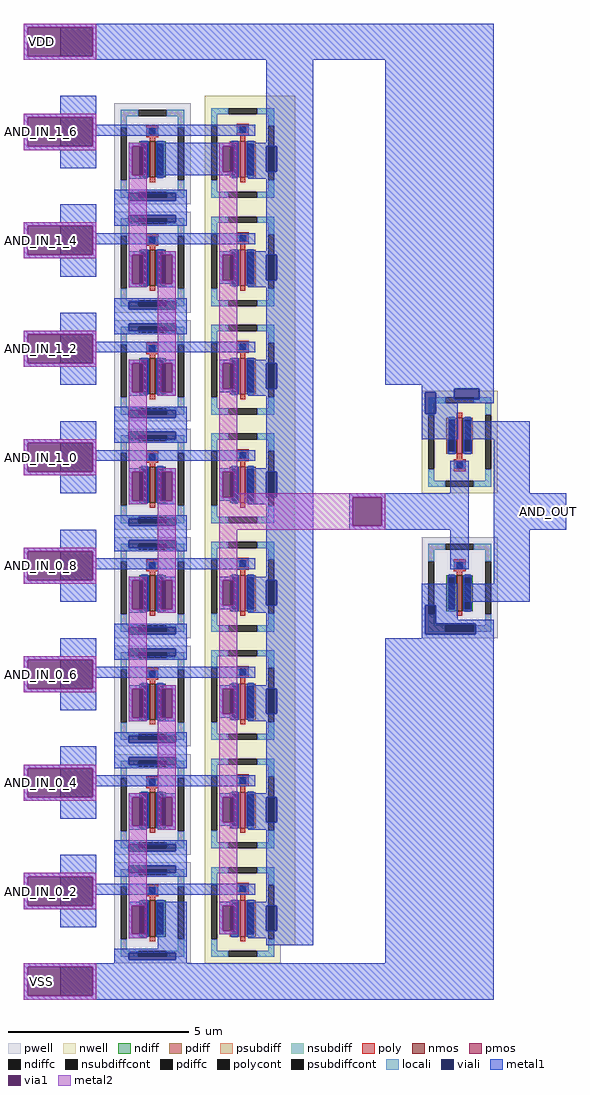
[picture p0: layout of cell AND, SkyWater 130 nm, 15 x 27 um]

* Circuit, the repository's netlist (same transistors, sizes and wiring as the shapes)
** sch_path: /home/ttuser/tt_analog_z2a/xschem/AND.sch
.subckt AND VDD VSS AND_IN_1_6 AND_IN_1_4 AND_IN_1_2 AND_IN_1_0 AND_OUT AND_IN_0_8 AND_IN_0_6 AND_IN_0_4 AND_IN_0_2
*.PININFO VDD:B VSS:B AND_IN_0_2:I AND_OUT:O AND_IN_0_4:I AND_IN_0_6:I AND_IN_0_8:I AND_IN_1_0:I AND_IN_1_2:I AND_IN_1_4:I
*+ AND_IN_1_6:I
x5 NANDOUT AND_IN_1_6 VDD AND_IN_1_4 VSS AND_IN_1_2 AND_IN_1_0 AND_IN_0_8 AND_IN_0_6 AND_IN_0_4 AND_IN_0_2 NAND
x28 VDD VSS AND_OUT NANDOUT inv_x1
.ends

* expanding   symbol:  NAND.sym # of pins=11
** sym_path: /home/ttuser/tt_analog_z2a/xschem/NAND.sym
** sch_path: /home/ttuser/tt_analog_z2a/xschem/NAND.sch
.subckt NAND NAND_OUT NAND_IN_7 VDD NAND_IN_6 VSS NAND_IN_5 NAND_IN_4 NAND_IN_3 NAND_IN_2 NAND_IN_1 NAND_IN_0
*.PININFO NAND_IN_0:I NAND_OUT:O VDD:B VSS:B NAND_IN_1:I NAND_IN_2:I NAND_IN_3:I NAND_IN_4:I NAND_IN_5:I NAND_IN_6:I NAND_IN_7:I
XM15 NAND_OUT NAND_IN_0 VDD VDD sky130_fd_pr__pfet_01v8 L=0.15 W=1 nf=1 m=1
XM0 net1 NAND_IN_0 VSS VSS sky130_fd_pr__nfet_01v8 L=0.15 W=1 nf=1 m=1
XM1 net2 NAND_IN_1 net1 VSS sky130_fd_pr__nfet_01v8 L=0.15 W=1 nf=1 m=1
XM2 net3 NAND_IN_2 net2 VSS sky130_fd_pr__nfet_01v8 L=0.15 W=1 nf=1 m=1
XM3 net4 NAND_IN_3 net3 VSS sky130_fd_pr__nfet_01v8 L=0.15 W=1 nf=1 m=1
XM4 net5 NAND_IN_4 net4 VSS sky130_fd_pr__nfet_01v8 L=0.15 W=1 nf=1 m=1
XM5 net6 NAND_IN_5 net5 VSS sky130_fd_pr__nfet_01v8 L=0.15 W=1 nf=1 m=1
XM6 net7 NAND_IN_6 net6 VSS sky130_fd_pr__nfet_01v8 L=0.15 W=1 nf=1 m=1
XM7 NAND_OUT NAND_IN_7 net7 VSS sky130_fd_pr__nfet_01v8 L=0.15 W=1 nf=1 m=1
XM8 NAND_OUT NAND_IN_1 VDD VDD sky130_fd_pr__pfet_01v8 L=0.15 W=1 nf=1 m=1
XM9 NAND_OUT NAND_IN_2 VDD VDD sky130_fd_pr__pfet_01v8 L=0.15 W=1 nf=1 m=1
XM10 NAND_OUT NAND_IN_3 VDD VDD sky130_fd_pr__pfet_01v8 L=0.15 W=1 nf=1 m=1
XM11 NAND_OUT NAND_IN_4 VDD VDD sky130_fd_pr__pfet_01v8 L=0.15 W=1 nf=1 m=1
XM12 NAND_OUT NAND_IN_5 VDD VDD sky130_fd_pr__pfet_01v8 L=0.15 W=1 nf=1 m=1
XM13 NAND_OUT NAND_IN_6 VDD VDD sky130_fd_pr__pfet_01v8 L=0.15 W=1 nf=1 m=1
XM14 NAND_OUT NAND_IN_7 VDD VDD sky130_fd_pr__pfet_01v8 L=0.15 W=1 nf=1 m=1
.ends


* expanding   symbol:  inv_x1.sym # of pins=4
** sym_path: /home/ttuser/tt_analog_z2a/xschem/inv_x1.sym
** sch_path: /home/ttuser/tt_analog_z2a/xschem/inv_x1.sch
.subckt inv_x1 VDD VSS INV_OUT INV_IN
*.PININFO INV_IN:I INV_OUT:O VDD:B VSS:B
XM3 INV_OUT INV_IN VDD VDD sky130_fd_pr__pfet_01v8 L=0.15 W=1 nf=1 m=1
XM5 INV_OUT INV_IN VSS VSS sky130_fd_pr__nfet_01v8 L=0.15 W=1 nf=1 m=1
.ends

.end

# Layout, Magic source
magic
tech sky130A
<< metal1 >>
rect 50 440 150 450
rect 50 360 60 440
rect 50 350 150 360
rect 700 350 1350 450
rect 50 190 150 200
rect 50 110 60 190
rect 50 100 150 110
rect 50 -110 150 -100
rect 50 -190 60 -110
rect 50 -200 150 -190
rect 50 -410 150 -400
rect 50 -490 60 -410
rect 50 -500 150 -490
rect 1050 -550 1350 350
rect 50 -710 150 -700
rect 50 -790 60 -710
rect 50 -800 150 -790
rect 1450 -950 1550 -850
rect 50 -1010 150 -1000
rect 50 -1090 60 -1010
rect 50 -1100 150 -1090
rect 50 -1310 150 -1300
rect 50 -1390 60 -1310
rect 50 -1400 150 -1390
rect 50 -1610 150 -1600
rect 50 -1690 60 -1610
rect 50 -1700 150 -1690
rect 50 -1910 150 -1900
rect 50 -1990 60 -1910
rect 50 -2000 150 -1990
rect 1050 -2150 1350 -1350
rect 50 -2160 150 -2150
rect 50 -2240 60 -2160
rect 50 -2250 150 -2240
rect 500 -2250 1350 -2150
<< via1 >>
rect 60 360 240 440
rect 60 110 240 190
rect 60 -190 240 -110
rect 60 -490 240 -410
rect 60 -790 240 -710
rect 60 -1090 240 -1010
rect 60 -1390 240 -1310
rect 60 -1690 240 -1610
rect 60 -1990 240 -1910
rect 60 -2240 240 -2160
<< metal2 >>
rect 50 440 250 450
rect 50 360 60 440
rect 240 360 250 440
rect 50 350 250 360
rect 50 190 250 200
rect 50 110 60 190
rect 240 110 250 190
rect 50 100 250 110
rect 50 -110 250 -100
rect 50 -190 60 -110
rect 240 -190 250 -110
rect 50 -200 250 -190
rect 50 -410 250 -400
rect 50 -490 60 -410
rect 240 -490 250 -410
rect 50 -500 250 -490
rect 50 -710 250 -700
rect 50 -790 60 -710
rect 240 -790 250 -710
rect 50 -800 250 -790
rect 50 -1010 250 -1000
rect 50 -1090 60 -1010
rect 240 -1090 250 -1010
rect 50 -1100 250 -1090
rect 50 -1310 250 -1300
rect 50 -1390 60 -1310
rect 240 -1390 250 -1310
rect 50 -1400 250 -1390
rect 50 -1610 250 -1600
rect 50 -1690 60 -1610
rect 240 -1690 250 -1610
rect 50 -1700 250 -1690
rect 50 -1910 250 -1900
rect 50 -1990 60 -1910
rect 240 -1990 250 -1910
rect 50 -2000 250 -1990
rect 50 -2160 250 -2150
rect 50 -2240 60 -2160
rect 240 -2240 250 -2160
rect 50 -2250 250 -2240
use NAND  x5
transform 1 0 150 0 1 50
box 0 -2300 900 400
use inv_x1  x28 ~/tt_analog_z2a_2/mag
transform 1 0 950 0 1 -650
box 100 -700 500 200
<< labels >>
flabel metal1 50 -2000 150 -1900 0 FreeSans 128 0 0 0 AND_IN_0_2
port 10 nsew
flabel metal1 50 -1700 150 -1600 0 FreeSans 128 0 0 0 AND_IN_0_4
port 9 nsew
flabel metal1 50 -1400 150 -1300 0 FreeSans 128 0 0 0 AND_IN_0_6
port 8 nsew
flabel metal1 50 350 150 450 0 FreeSans 128 0 0 0 VDD
port 0 nsew
flabel metal1 50 -2250 150 -2150 0 FreeSans 128 0 0 0 VSS
port 1 nsew
flabel metal1 50 100 150 200 0 FreeSans 128 0 0 0 AND_IN_1_6
port 2 nsew
flabel metal1 50 -200 150 -100 0 FreeSans 128 0 0 0 AND_IN_1_4
port 3 nsew
flabel metal1 50 -500 150 -400 0 FreeSans 128 0 0 0 AND_IN_1_2
port 4 nsew
flabel metal1 50 -800 150 -700 0 FreeSans 128 0 0 0 AND_IN_1_0
port 5 nsew
flabel metal1 50 -1100 150 -1000 0 FreeSans 128 0 0 0 AND_IN_0_8
port 7 nsew
flabel metal1 1450 -950 1550 -850 0 FreeSans 128 0 0 0 AND_OUT
port 6 nsew
<< end >>

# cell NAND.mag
magic
tech sky130A
magscale 1 2
<< nwell >>
rect 800 -4300 1300 400
rect 800 -4400 1100 -4300
<< pwell >>
rect 380 -2100 640 -2060
rect 380 -2580 640 -2540
rect 380 -2700 640 -2660
rect 380 -3180 640 -3140
<< viali >>
rect 1140 -20 1200 120
rect 380 -180 640 -140
rect 380 -300 640 -260
rect 1140 -620 1200 -480
rect 380 -780 640 -740
rect 380 -900 640 -860
rect 1140 -1220 1200 -1080
rect 380 -1380 640 -1340
rect 380 -1500 640 -1460
rect 1140 -1820 1200 -1680
rect 380 -1980 640 -1940
rect 380 -2100 640 -2060
rect 1140 -2420 1200 -2280
rect 380 -2580 640 -2540
rect 380 -2700 640 -2660
rect 1140 -3020 1200 -2880
rect 380 -3180 640 -3140
rect 380 -3300 640 -3260
rect 1140 -3620 1200 -3480
rect 380 -3780 640 -3740
rect 380 -3900 640 -3860
rect 1140 -4220 1200 -4080
rect 380 -4380 640 -4340
<< metal1 >>
rect 0 600 1400 800
rect 0 240 200 400
rect 0 180 1080 240
rect 0 0 200 180
rect 1140 140 1400 600
rect 380 120 480 140
rect 380 -40 400 120
rect 460 -40 480 120
rect 540 120 980 140
rect 540 -20 900 120
rect 960 -20 980 120
rect 540 -40 980 -20
rect 1040 120 1400 140
rect 1040 -20 1140 120
rect 1200 -20 1400 120
rect 380 -60 480 -40
rect 1040 -60 1400 -20
rect 300 -140 700 -120
rect 300 -180 380 -140
rect 640 -180 700 -140
rect 0 -360 200 -200
rect 300 -260 700 -180
rect 300 -300 380 -260
rect 640 -300 700 -260
rect 300 -320 700 -300
rect 0 -420 1080 -360
rect 0 -600 200 -420
rect 1140 -460 1400 -60
rect 380 -480 480 -460
rect 380 -640 400 -480
rect 460 -640 480 -480
rect 380 -660 480 -640
rect 540 -480 640 -460
rect 540 -640 560 -480
rect 620 -640 640 -480
rect 880 -480 980 -460
rect 880 -620 900 -480
rect 960 -620 980 -480
rect 880 -640 980 -620
rect 1040 -480 1400 -460
rect 1040 -620 1140 -480
rect 1200 -620 1400 -480
rect 540 -660 640 -640
rect 1040 -660 1400 -620
rect 300 -740 700 -720
rect 300 -780 380 -740
rect 640 -780 700 -740
rect 0 -960 200 -800
rect 300 -860 700 -780
rect 300 -900 380 -860
rect 640 -900 700 -860
rect 300 -920 700 -900
rect 0 -1020 1080 -960
rect 0 -1200 200 -1020
rect 1140 -1060 1400 -660
rect 380 -1080 480 -1060
rect 380 -1240 400 -1080
rect 460 -1240 480 -1080
rect 380 -1260 480 -1240
rect 540 -1080 640 -1060
rect 540 -1240 560 -1080
rect 620 -1240 640 -1080
rect 880 -1080 980 -1060
rect 880 -1220 900 -1080
rect 960 -1220 980 -1080
rect 880 -1240 980 -1220
rect 1040 -1080 1400 -1060
rect 1040 -1220 1140 -1080
rect 1200 -1220 1400 -1080
rect 540 -1260 640 -1240
rect 1040 -1260 1400 -1220
rect 300 -1340 700 -1320
rect 300 -1380 380 -1340
rect 640 -1380 700 -1340
rect 0 -1560 200 -1400
rect 300 -1460 700 -1380
rect 300 -1500 380 -1460
rect 640 -1500 700 -1460
rect 300 -1520 700 -1500
rect 0 -1620 1080 -1560
rect 0 -1800 200 -1620
rect 1140 -1660 1400 -1260
rect 380 -1680 480 -1660
rect 380 -1840 400 -1680
rect 460 -1840 480 -1680
rect 380 -1860 480 -1840
rect 540 -1680 640 -1660
rect 540 -1840 560 -1680
rect 620 -1840 640 -1680
rect 880 -1680 980 -1660
rect 880 -1820 900 -1680
rect 960 -1820 980 -1680
rect 880 -1840 980 -1820
rect 1040 -1680 1400 -1660
rect 1040 -1820 1140 -1680
rect 1200 -1820 1400 -1680
rect 540 -1860 640 -1840
rect 1040 -1860 1400 -1820
rect 300 -1940 700 -1920
rect 300 -1980 380 -1940
rect 640 -1980 700 -1940
rect 0 -2160 200 -2000
rect 300 -2060 700 -1980
rect 300 -2100 380 -2060
rect 640 -2100 700 -2060
rect 300 -2120 700 -2100
rect 0 -2220 1080 -2160
rect 0 -2400 200 -2220
rect 1140 -2260 1400 -1860
rect 1600 -1820 1800 -1800
rect 1600 -1980 1620 -1820
rect 1780 -1980 1800 -1820
rect 1600 -2000 1800 -1980
rect 380 -2280 480 -2260
rect 380 -2440 400 -2280
rect 460 -2440 480 -2280
rect 380 -2460 480 -2440
rect 540 -2280 640 -2260
rect 540 -2440 560 -2280
rect 620 -2440 640 -2280
rect 880 -2280 980 -2260
rect 880 -2420 900 -2280
rect 960 -2420 980 -2280
rect 880 -2440 980 -2420
rect 1040 -2280 1400 -2260
rect 1040 -2420 1140 -2280
rect 1200 -2420 1400 -2280
rect 540 -2460 640 -2440
rect 1040 -2460 1400 -2420
rect 300 -2540 700 -2520
rect 300 -2580 380 -2540
rect 640 -2580 700 -2540
rect 0 -2760 200 -2600
rect 300 -2660 700 -2580
rect 300 -2700 380 -2660
rect 640 -2700 700 -2660
rect 300 -2720 700 -2700
rect 0 -2820 1080 -2760
rect 0 -3000 200 -2820
rect 1140 -2860 1400 -2460
rect 380 -2880 480 -2860
rect 380 -3040 400 -2880
rect 460 -3040 480 -2880
rect 380 -3060 480 -3040
rect 540 -2880 640 -2860
rect 540 -3040 560 -2880
rect 620 -3040 640 -2880
rect 880 -2880 980 -2860
rect 880 -3020 900 -2880
rect 960 -3020 980 -2880
rect 880 -3040 980 -3020
rect 1040 -2880 1400 -2860
rect 1040 -3020 1140 -2880
rect 1200 -3020 1400 -2880
rect 540 -3060 640 -3040
rect 1040 -3060 1400 -3020
rect 300 -3140 700 -3120
rect 300 -3180 380 -3140
rect 640 -3180 700 -3140
rect 0 -3360 200 -3200
rect 300 -3260 700 -3180
rect 300 -3300 380 -3260
rect 640 -3300 700 -3260
rect 300 -3320 700 -3300
rect 0 -3420 1080 -3360
rect 0 -3600 200 -3420
rect 1140 -3460 1400 -3060
rect 380 -3480 480 -3460
rect 380 -3640 400 -3480
rect 460 -3640 480 -3480
rect 380 -3660 480 -3640
rect 540 -3480 640 -3460
rect 540 -3640 560 -3480
rect 620 -3640 640 -3480
rect 880 -3480 980 -3460
rect 880 -3620 900 -3480
rect 960 -3620 980 -3480
rect 880 -3640 980 -3620
rect 1040 -3480 1400 -3460
rect 1040 -3620 1140 -3480
rect 1200 -3620 1400 -3480
rect 540 -3660 640 -3640
rect 1040 -3660 1400 -3620
rect 300 -3740 700 -3720
rect 300 -3780 380 -3740
rect 640 -3780 700 -3740
rect 0 -3960 200 -3800
rect 300 -3860 700 -3780
rect 300 -3900 380 -3860
rect 640 -3900 700 -3860
rect 300 -3920 700 -3900
rect 0 -4020 1080 -3960
rect 0 -4200 200 -4020
rect 1140 -4060 1400 -3660
rect 380 -4082 480 -4060
rect 380 -4236 396 -4082
rect 468 -4236 480 -4082
rect 380 -4260 480 -4236
rect 540 -4320 700 -4060
rect 880 -4080 980 -4060
rect 880 -4220 900 -4080
rect 960 -4220 980 -4080
rect 880 -4240 980 -4220
rect 1040 -4080 1400 -4060
rect 1040 -4220 1140 -4080
rect 1200 -4220 1400 -4080
rect 1040 -4260 1400 -4220
rect 1140 -4300 1400 -4260
rect 300 -4340 700 -4320
rect 300 -4380 380 -4340
rect 640 -4380 700 -4340
rect 300 -4400 700 -4380
rect 0 -4600 700 -4400
<< via1 >>
rect 400 -40 460 120
rect 900 -20 960 120
rect 400 -640 460 -480
rect 560 -640 620 -480
rect 900 -620 960 -480
rect 400 -1240 460 -1080
rect 560 -1240 620 -1080
rect 900 -1220 960 -1080
rect 400 -1840 460 -1680
rect 560 -1840 620 -1680
rect 900 -1820 960 -1680
rect 1620 -1980 1780 -1820
rect 400 -2440 460 -2280
rect 560 -2440 620 -2280
rect 900 -2420 960 -2280
rect 400 -3040 460 -2880
rect 560 -3040 620 -2880
rect 900 -3020 960 -2880
rect 400 -3640 460 -3480
rect 560 -3640 620 -3480
rect 900 -3620 960 -3480
rect 396 -4236 468 -4082
rect 900 -4220 960 -4080
<< metal2 >>
rect 380 120 480 140
rect 380 -40 400 120
rect 460 -40 480 120
rect 380 -480 480 -40
rect 880 120 980 140
rect 880 -20 900 120
rect 960 -20 980 120
rect 380 -640 400 -480
rect 460 -640 480 -480
rect 380 -660 480 -640
rect 540 -480 640 -460
rect 540 -640 560 -480
rect 620 -640 640 -480
rect 380 -1080 480 -1060
rect 380 -1240 400 -1080
rect 460 -1240 480 -1080
rect 380 -1680 480 -1240
rect 540 -1080 640 -640
rect 540 -1240 560 -1080
rect 620 -1240 640 -1080
rect 540 -1260 640 -1240
rect 880 -480 980 -20
rect 880 -620 900 -480
rect 960 -620 980 -480
rect 880 -1080 980 -620
rect 880 -1220 900 -1080
rect 960 -1220 980 -1080
rect 380 -1840 400 -1680
rect 460 -1840 480 -1680
rect 380 -1860 480 -1840
rect 540 -1680 640 -1660
rect 540 -1840 560 -1680
rect 620 -1840 640 -1680
rect 380 -2280 480 -2260
rect 380 -2440 400 -2280
rect 460 -2440 480 -2280
rect 380 -2880 480 -2440
rect 540 -2280 640 -1840
rect 540 -2440 560 -2280
rect 620 -2440 640 -2280
rect 540 -2460 640 -2440
rect 880 -1680 980 -1220
rect 880 -1820 900 -1680
rect 960 -1800 980 -1680
rect 960 -1820 1800 -1800
rect 880 -1980 1620 -1820
rect 1780 -1980 1800 -1820
rect 880 -2000 1800 -1980
rect 880 -2280 980 -2000
rect 880 -2420 900 -2280
rect 960 -2420 980 -2280
rect 380 -3040 400 -2880
rect 460 -3040 480 -2880
rect 380 -3060 480 -3040
rect 540 -2880 640 -2860
rect 540 -3040 560 -2880
rect 620 -3040 640 -2880
rect 380 -3480 480 -3460
rect 380 -3640 400 -3480
rect 460 -3640 480 -3480
rect 380 -4082 480 -3640
rect 540 -3480 640 -3040
rect 540 -3640 560 -3480
rect 620 -3640 640 -3480
rect 540 -3660 640 -3640
rect 880 -2880 980 -2420
rect 880 -3020 900 -2880
rect 960 -3020 980 -2880
rect 880 -3480 980 -3020
rect 880 -3620 900 -3480
rect 960 -3620 980 -3480
rect 380 -4236 396 -4082
rect 468 -4236 480 -4082
rect 380 -4260 480 -4236
rect 880 -4080 980 -3620
rect 880 -4220 900 -4080
rect 960 -4220 980 -4080
rect 880 -4240 980 -4220
use sky130_fd_pr__nfet_01v8_64Z3AY  sky130_fd_pr__nfet_01v8_64Z3AY_0 ~/tt_analog_z2a_2/mag
transform 1 0 511 0 1 79
box -211 -279 211 279
use sky130_fd_pr__pfet_01v8_MGS3BN  sky130_fd_pr__pfet_01v8_MGS3BN_0
transform 1 0 1011 0 1 -516
box -211 -284 211 284
use sky130_fd_pr__nfet_01v8_64Z3AY  XM0
transform 1 0 511 0 1 -4121
box -211 -279 211 279
use sky130_fd_pr__nfet_01v8_64Z3AY  XM1
transform 1 0 511 0 1 -3521
box -211 -279 211 279
use sky130_fd_pr__nfet_01v8_64Z3AY  XM2
transform 1 0 511 0 1 -2921
box -211 -279 211 279
use sky130_fd_pr__nfet_01v8_64Z3AY  XM3
transform 1 0 511 0 1 -2321
box -211 -279 211 279
use sky130_fd_pr__nfet_01v8_64Z3AY  XM4
transform 1 0 511 0 1 -1721
box -211 -279 211 279
use sky130_fd_pr__nfet_01v8_64Z3AY  XM5
transform 1 0 511 0 1 -1121
box -211 -279 211 279
use sky130_fd_pr__nfet_01v8_64Z3AY  XM6
transform 1 0 511 0 1 -521
box -211 -279 211 279
use sky130_fd_pr__pfet_01v8_MGS3BN  XM8
transform 1 0 1011 0 1 84
box -211 -284 211 284
use sky130_fd_pr__pfet_01v8_MGS3BN  XM10
transform 1 0 1011 0 1 -1116
box -211 -284 211 284
use sky130_fd_pr__pfet_01v8_MGS3BN  XM11
transform 1 0 1011 0 1 -1716
box -211 -284 211 284
use sky130_fd_pr__pfet_01v8_MGS3BN  XM12
transform 1 0 1011 0 1 -2316
box -211 -284 211 284
use sky130_fd_pr__pfet_01v8_MGS3BN  XM13
transform 1 0 1011 0 1 -2916
box -211 -284 211 284
use sky130_fd_pr__pfet_01v8_MGS3BN  XM14
transform 1 0 1011 0 1 -3516
box -211 -284 211 284
use sky130_fd_pr__pfet_01v8_MGS3BN  XM15
transform 1 0 1011 0 1 -4116
box -211 -284 211 284
<< labels >>
flabel metal1 0 -4100 200 -3900 0 FreeSans 256 0 0 0 NAND_IN_0
port 10 nsew
flabel metal1 0 -3500 200 -3300 0 FreeSans 256 0 0 0 NAND_IN_1
port 9 nsew
flabel metal1 0 100 200 300 0 FreeSans 256 0 0 0 NAND_IN_7
port 1 nsew
flabel metal1 0 -500 200 -300 0 FreeSans 256 0 0 0 NAND_IN_6
port 3 nsew
flabel metal1 0 -4600 200 -4400 0 FreeSans 256 0 0 0 VSS
port 4 nsew
flabel metal1 0 -1100 200 -900 0 FreeSans 256 0 0 0 NAND_IN_5
port 5 nsew
flabel metal1 0 -1700 200 -1500 0 FreeSans 256 0 0 0 NAND_IN_4
port 6 nsew
flabel metal1 0 -2300 200 -2100 0 FreeSans 256 0 0 0 NAND_IN_3
port 7 nsew
flabel metal1 0 -2900 200 -2700 0 FreeSans 256 0 0 0 NAND_IN_2
port 8 nsew
flabel metal1 0 600 200 800 0 FreeSans 256 0 0 0 VDD
port 2 nsew
flabel metal1 1600 -2000 1800 -1800 0 FreeSans 256 0 0 0 NAND_OUT
port 0 nsew
<< end >>

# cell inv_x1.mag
magic
tech sky130A
magscale 1 2
<< viali >>
rect 420 40 480 160
rect 580 120 720 180
rect 420 -1120 480 -1020
rect 420 -1180 700 -1120
<< metal1 >>
rect 200 200 800 400
rect 400 180 800 200
rect 400 160 580 180
rect 400 40 420 160
rect 480 120 580 160
rect 720 120 800 180
rect 480 100 800 120
rect 480 40 600 100
rect 400 -100 600 40
rect 640 -100 1000 0
rect 560 -400 660 -220
rect 200 -600 660 -400
rect 560 -820 660 -600
rect 800 -900 1000 -100
rect 400 -1020 600 -900
rect 640 -1000 1000 -900
rect 400 -1180 420 -1020
rect 480 -1100 600 -1020
rect 480 -1120 800 -1100
rect 700 -1180 800 -1120
rect 400 -1200 800 -1180
rect 200 -1400 800 -1200
use sky130_fd_pr__pfet_01v8_LGS3BL  XM3
transform 1 0 611 0 1 -116
box -211 -284 211 284
use sky130_fd_pr__nfet_01v8_64Z3AY  XM5
transform 1 0 611 0 1 -921
box -211 -279 211 279
<< labels >>
flabel metal1 800 -600 1000 -400 0 FreeSans 256 0 0 0 INV_OUT
port 2 nsew
flabel metal1 200 -600 400 -400 0 FreeSans 256 0 0 0 INV_IN
port 3 nsew
flabel metal1 200 -1400 400 -1200 0 FreeSans 256 0 0 0 VSS
port 1 nsew
flabel metal1 200 200 400 400 0 FreeSans 256 0 0 0 VDD
port 0 nsew
<< end >>

# cell sky130_fd_pr__pfet_01v8_LGS3BL: kit device sky130_fd_pr__pfet_01v8, w 1.0 l 0.15 m 1 nf 1 diffcov 100 polycov 100 guard 1 glc 1 grc 1 gtc 1 gbc 1 tbcov 100 rlcov 100 topc 0 botc 1 poverlap 0 doverlap 1 lmin 0.15 wmin 0.42 compatible {sky130_fd_pr__pfet_01v8 sky130_fd_pr__pfet_01v8_lvt sky130_fd_pr__pfet_01v8_hvt sky130_fd_pr__pfet_g5v0d10v5} full_metal 1 viasrc 100 viadrn 100 viagate 100 viagb 0 viagr 0 viagl 0 viagt 0

# cell sky130_fd_pr__nfet_01v8_64Z3AY: kit device sky130_fd_pr__nfet_01v8, w 1.0 l 0.15 m 1 nf 1 diffcov 100 polycov 100 guard 1 glc 1 grc 1 gtc 1 gbc 1 tbcov 100 rlcov 100 topc 1 botc 0 poverlap 0 doverlap 1 lmin 0.15 wmin 0.42 compatible {sky130_fd_pr__nfet_01v8 sky130_fd_pr__nfet_01v8_lvt sky130_fd_bs_flash__special_sonosfet_star sky130_fd_pr__nfet_g5v0d10v5 sky130_fd_pr__nfet_05v0_nvt sky130_fd_pr__nfet_03v3_nvt} full_metal 1 viasrc 100 viadrn 100 viagate 100 viagb 0 viagr 0 viagl 0 viagt 0

# cell sky130_fd_pr__pfet_01v8_MGS3BN: kit device sky130_fd_pr__pfet_01v8, w 1.0 l 0.15 m 1 nf 1 diffcov 100 polycov 100 guard 1 glc 1 grc 1 gtc 1 gbc 1 tbcov 100 rlcov 100 topc 1 botc 0 poverlap 0 doverlap 1 lmin 0.15 wmin 0.42 compatible {sky130_fd_pr__pfet_01v8 sky130_fd_pr__pfet_01v8_lvt sky130_fd_pr__pfet_01v8_hvt sky130_fd_pr__pfet_g5v0d10v5} full_metal 1 viasrc 100 viadrn 100 viagate 100 viagb 0 viagr 0 viagl 0 viagt 0
